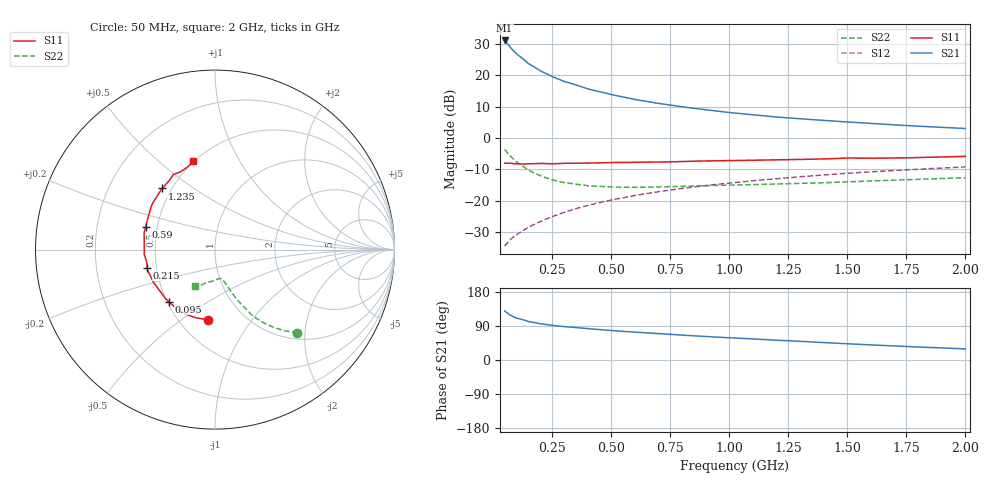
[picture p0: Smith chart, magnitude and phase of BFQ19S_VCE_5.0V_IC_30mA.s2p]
! Infineon Technologies  Discrete & RF Semiconductors
! BFQ19S
! VCE =  5.0 V,  IC =  30 mA
! Common Emitter S-Parameters:  Jan 2016
# GHz  S  MA  R  50
!  f  S11  S21  S12  S22
! GHz  MAG  ANG  MAG  ANG  MAG  ANG  MAG  ANG
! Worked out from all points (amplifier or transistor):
!   391 points, 50 MHz to 2 GHz, reference 50 ohm
!   highest |S21| = 31.1 dB at 50 MHz (marker M1)
!   |S21| within 3 dB of that: start of sweep to 83.98 MHz
!   unconditionally stable (mu >= 1): 356.2 MHz to 1.478 GHz; 1.563 GHz to 1.649 GHz
!   at 375 MHz: K = 1.01, MAG = 18.7 dB, |S12| = -22.1 dB
!   at 1.025 GHz: K = 1.03, MAG = 9.9 dB, |S12| = -14.2 dB
!   at 2 GHz: K = 0.97, MSG = 6.1 dB, |S12| = -9.2 dB
!   S11 on the Smith chart (normalised r, x): 50 MHz: 0.69, -0.64; 95 MHz: 0.51, -0.35; 215 MHz: 0.44, -0.11; 590 MHz: 0.43, +0.13; 1.235 GHz: 0.45, +0.38; 2 GHz: 0.49, +0.66
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0.05  0.3943 -95.6  35.73 129.7  0.0188 64.9  0.6533 -45.3
0.06  0.3945 -106.5  32.11 124.4  0.0209 63.6  0.5894 -49.9
0.07  0.3955 -115.5  28.93 119.9  0.0231 62.9  0.5342 -53.5
0.08  0.3924 -123.0  26.23 116.2  0.0249 63.0  0.4883 -56.5
0.09  0.3886 -129.0  23.91 113.1  0.0269 62.9  0.4482 -58.9
0.095  0.3882 -131.6  22.9 111.9  0.0277 63.5  0.4312 -59.8
0.1  0.3886 -134.2  21.89 110.5  0.0285 64.0  0.4144 -60.8
0.15  0.3881 -151.7  15.37 101.5  0.0374 65.9  0.3059 -66.2
0.2  0.3927 -162.9  11.78 95.7  0.0462 68.0  0.249 -69.2
0.215  0.3903 -165.1  11.1 94.6  0.049 68.4  0.2388 -69.8
0.25  0.3868 -170.2  9.517 91.5  0.0554 69.2  0.2152 -71.3
0.3  0.3949 -176.0  8.001 88.1  0.0647 69.8  0.195 -72.8
0.375  0.3947 176.9  6.54 84.3  0.0789 70.0  0.1783 -75.0
0.4  0.396 174.6  6.062 82.6  0.0836 70.1  0.1728 -75.8
0.5  0.4056 166.7  4.902 77.8  0.1019 69.6  0.1649 -78.7
0.59  0.4076 161.7  4.185 74.0  0.1186 68.7  0.1627 -81.7
0.7  0.412 155.5  3.553 69.5  0.1385 67.6  0.1651 -85.4
1.03  0.4362 139.7  2.479 57.8  0.1955 62.9  0.1778 -95.9
1.235  0.4495 130.7  2.105 51.2  0.2296 59.7  0.1854 -101.7
1.35  0.4571 125.7  1.958 47.7  0.2484 57.9  0.1903 -104.7
1.675  0.4772 112.2  1.633 37.8  0.2987 52.4  0.2108 -111.1
2  0.5081 104.0  1.412 29.2  0.3451 47.4  0.2317 -118.8
